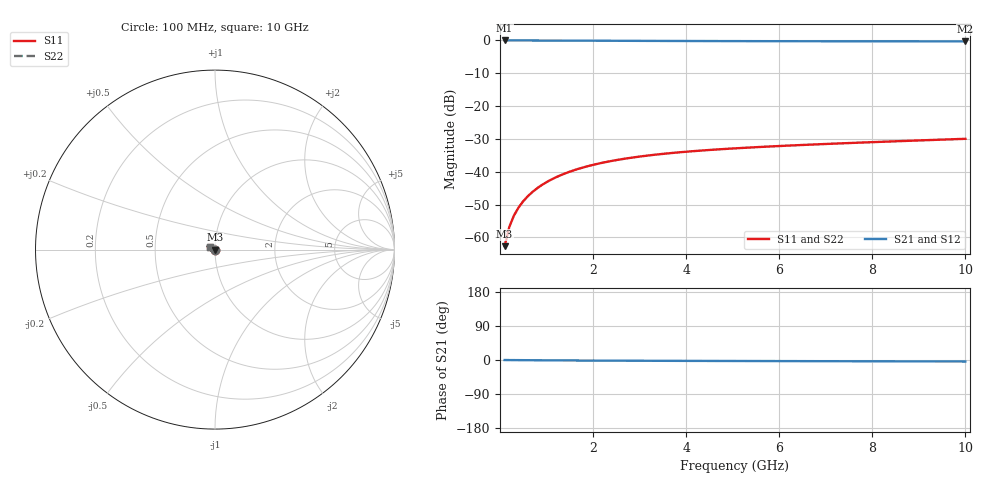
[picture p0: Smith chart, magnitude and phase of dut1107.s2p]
! Touchstone file exported from HFSS 2024.1.0
!  File:  C:/UserFiles/LocalFiles/RDL_TSV_Batchsim/temp_TSV1_1107_1780067775.aedt
!  Generated:  11:21:56 PM May 29, 2026
!  Design:  TSV1
!  Project:  temp_TSV1_1107_1780067775
!  Setup:  Setup1
!  Solution:  Sweep
! Variables:
!  dtsv = 8.45um
!  hbump = 3um
!  htsv = 57.31um
!  lrdl = 252.1521522um
!  p = 40
!  p1 = 53.44um
!  t = 500um
!  trdl = 3um
!  wrdl = 24.89489489um
# GHz S MA R 50.000000
! Terminal data exported
! Port[1] = TSV22_T1
! Port[2] = TSV22_T2
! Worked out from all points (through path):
!   100 points, 100 MHz to 10 GHz, reference 50 ohm
!   highest |S21| = 0.00 dB at 100 MHz (marker M1); lowest = -0.3 dB at 10 GHz (marker M2)
!   lowest |S11| = -62.7 dB at 100 MHz (marker M3), VSWR 1.00, Z = 50 - j0.0721 ohm
!   |S11| at or under -10 dB: start of sweep to end of sweep
!   |S22| runs from -62.7 to -30.0 dB; largest |S21 - S12| = 5.5e-15
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0.1  0.0007343 -79.0  0.9998 -0.1  0.9998 -0.1  0.0007343 -79.0
! Gamma 0 0 0 0
! Port Impedance 50 0 50 0
0.2  0.001438 -87.7  0.9997 -0.2  0.9997 -0.2  0.001438 -87.7
0.3  0.002146 -92.0  0.9996 -0.3  0.9996 -0.3  0.002146 -92.0
0.4  0.002852 -95.3  0.9994 -0.4  0.9994 -0.4  0.002852 -95.3
0.5  0.003553 -98.1  0.9991 -0.4  0.9991 -0.4  0.003553 -98.1
0.6  0.004247 -100.6  0.9988 -0.5  0.9988 -0.5  0.004247 -100.6
0.7  0.004934 -103.0  0.9985 -0.6  0.9985 -0.6  0.004934 -103.0
0.8  0.005612 -105.3  0.9981 -0.7  0.9981 -0.7  0.005612 -105.3
0.9  0.00628 -107.6  0.9976 -0.8  0.9976 -0.8  0.00628 -107.6
1.1  0.00758 -111.8  0.9967 -0.9  0.9967 -0.9  0.00758 -111.8
1.4  0.009429 -117.9  0.9951 -1.1  0.9951 -1.1  0.009429 -117.9
1.6  0.01059 -121.7  0.9939 -1.3  0.9939 -1.3  0.01059 -121.7
1.8  0.01169 -125.4  0.9927 -1.4  0.9927 -1.4  0.01169 -125.4
2.1  0.01321 -130.7  0.9908 -1.6  0.9908 -1.6  0.01321 -130.7
2.5  0.01504 -137.2  0.9884 -1.8  0.9884 -1.8  0.01504 -137.2
2.9  0.01665 -143.2  0.9861 -1.9  0.9861 -1.9  0.01665 -143.2
3.4  0.01839 -150.1  0.9834 -2.1  0.9834 -2.1  0.01839 -150.1
4.2  0.0207 -159.8  0.9798 -2.4  0.9798 -2.4  0.0207 -159.8
5.1  0.02282 -169.0  0.9766 -2.7  0.9766 -2.7  0.02281 -169.0
6.7  0.02593 177.5  0.9726 -3.1  0.9726 -3.1  0.02593 177.5
8.4  0.02892 166.3  0.9699 -3.5  0.9699 -3.5  0.02892 166.3
10  0.03173 157.6  0.9681 -4.0  0.9681 -4.0  0.03173 157.6
